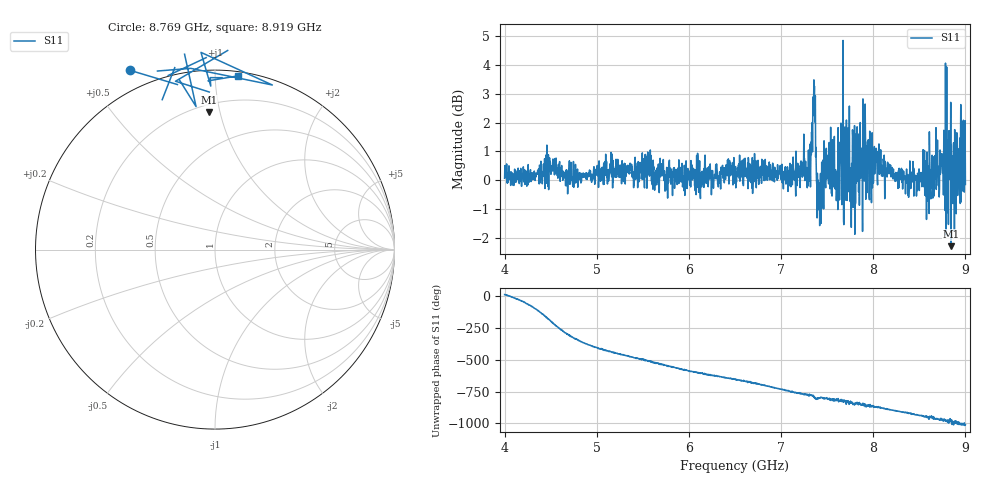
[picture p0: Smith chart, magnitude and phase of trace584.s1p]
! Created with skrf 1.8.0 (http://scikit-rf.org).
# Hz S RI R 50.0
!freq ReS11 ImS11
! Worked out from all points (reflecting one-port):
!   1601 points, 4 GHz to 9 GHz, reference 50 ohm
!   lowest |S11| = -2.3 dB at 8.844 GHz (marker M1), VSWR 7.63, Z = 12.4 + j46.3 ohm
!   phase of S11 starts at 14 deg and turns -1025 deg over the sweep
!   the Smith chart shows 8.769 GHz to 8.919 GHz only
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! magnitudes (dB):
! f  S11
! 4 GHz  0.1
! 4.625 GHz  0.1
! 5.25 GHz  0.5
! 5.875 GHz  0.1
! 6.5 GHz  -0.1
! 7.125 GHz  0.3
! 7.297 GHz  1.1
! 7.35 GHz  2.3
! 7.369 GHz  2.8
! 7.4 GHz  0.0
! 7.412 GHz  -0.6
! 7.512 GHz  0.2
! 7.609 GHz  0.2
! 7.65 GHz  2.0
! 7.659 GHz  -0.8
! 7.75 GHz  -0.7
! 7.784 GHz  0.1
! 7.838 GHz  0.7
! 7.928 GHz  1.2
! 7.981 GHz  -0.8
! 8.038 GHz  0.6
! 8.375 GHz  -0.2
! 8.581 GHz  0.0
! 8.809 GHz  0.9
! 8.844 GHz  -2.3
! 8.869 GHz  -0.4
! 8.972 GHz  0.9
! 9 GHz  -0.1
